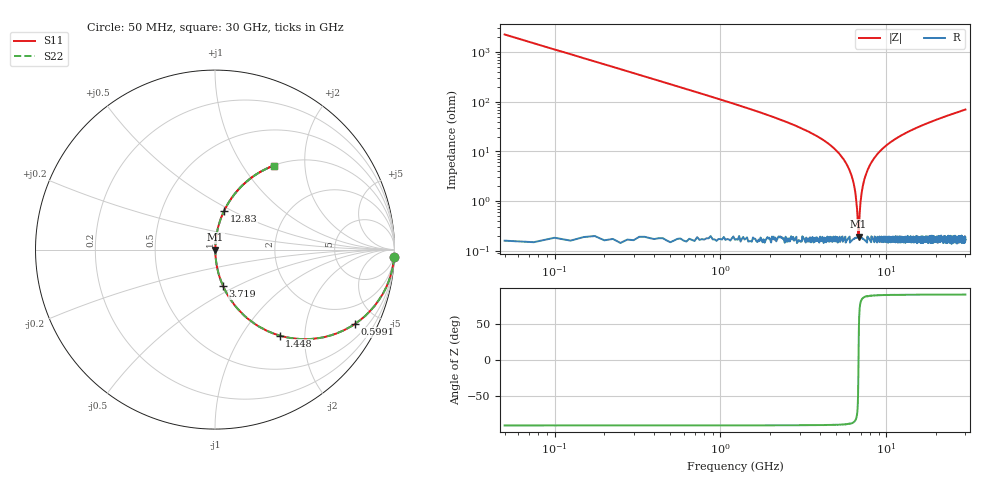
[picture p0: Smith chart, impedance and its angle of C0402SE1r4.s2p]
!	AVX Thin Film Operation 	Date: April 2014
!	Description: Accu-P® Series, Thin Film  SMD RF Capacitor
!	Part Number: 04021J1R4PBSTR
# MHZ S MA R 50
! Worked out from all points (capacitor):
!   1201 points, 50 MHz to 30 GHz, reference 50 ohm
!   read as one part in series: C = 1.4 pF near 199.8 MHz
!   lowest |Z| = 194 mohm at 6.814 GHz (marker M1)
!   series resonance near 6.802 GHz, so ESL is about 390 pH
!   S11 on the Smith chart (normalised r, x): 50 MHz: 1, -45; 599.1 MHz: 1.00, -3.77; 1.448 GHz: 1.00, -1.50; 3.719 GHz: 1.00, -0.43; 12.83 GHz: 1.00, +0.45; 30 GHz: 1.00, +1.40
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50  0.999 -2.5  0.044 87.5  0.044 87.5  0.999 -2.5
299.583  0.967 -14.8  0.255 75.2  0.255 75.2  0.967 -14.8
599.083  0.883 -28.0  0.469 62.0  0.469 62.0  0.883 -28.0
1447.667  0.599 -53.1  0.799 36.8  0.799 36.8  0.599 -53.1
2371.125  0.388 -67.0  0.92 22.8  0.92 22.8  0.388 -67.0
3718.875  0.209 -77.5  0.976 12.1  0.976 12.1  0.209 -77.5
5041.667  0.101 -83.2  0.993 5.8  0.993 5.8  0.101 -83.2
6189.75  0.032 -85.1  0.998 1.8  0.998 1.8  0.032 -85.1
6464.292  0.017 -83.3  0.998 1.0  0.998 1.0  0.017 -83.3
6713.875  0.004696 -68.4  0.998 0.3  0.998 0.3  0.004696 -68.4
6813.708  0.001794 17.8  0.998 -0.0  0.998 -0.0  0.001794 17.8
6913.542  0.005667 72.2  0.998 -0.3  0.998 -0.3  0.005667 72.2
7038.333  0.012 80.8  0.998 -0.7  0.998 -0.7  0.012 80.8
7188.083  0.018 83.6  0.998 -1.1  0.998 -1.1  0.018 83.6
7737.167  0.043 85.3  0.997 -2.5  0.997 -2.5  0.043 85.3
8710.542  0.083 84.1  0.995 -4.8  0.995 -4.8  0.083 84.1
10058.29  0.133 81.6  0.989 -7.6  0.989 -7.6  0.133 81.6
12828.67  0.221 76.8  0.974 -12.7  0.974 -12.7  0.221 76.8
15025  0.281 73.3  0.958 -16.3  0.958 -16.3  0.281 73.3
20016.67  0.398 66.3  0.916 -23.5  0.916 -23.5  0.398 66.3
25033.29  0.494 60.2  0.868 -29.6  0.868 -29.6  0.494 60.2
30000  0.572 54.9  0.819 -34.9  0.819 -34.9  0.572 54.9
